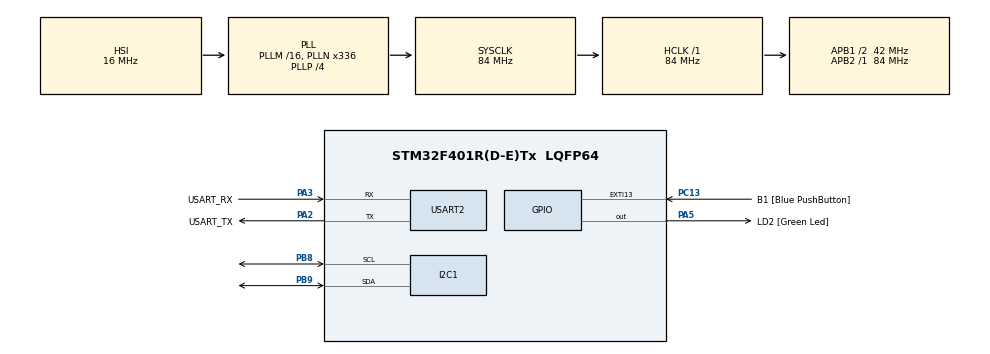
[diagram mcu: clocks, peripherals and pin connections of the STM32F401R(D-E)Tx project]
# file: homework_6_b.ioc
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Mcu.Family=STM32F4
Mcu.Name=STM32F401R(D-E)Tx
Mcu.Package=LQFP64
NVIC.PriorityGroup=NVIC_PRIORITYGROUP_0
NVIC.TIM2_IRQn=true\:0\:0\:false\:false\:true\:true\:true\:true
PA13.GPIO_Label=TMS
PA13.Mode=Serial_Wire
PA13.Signal=SYS_JTMS-SWDIO
PA14.GPIO_Label=TCK
PA14.Mode=Serial_Wire
PA14.Signal=SYS_JTCK-SWCLK
PA2.GPIO_Label=USART_TX
PA2.GPIO_Mode=GPIO_MODE_AF_PP
PA2.GPIO_PuPd=GPIO_NOPULL
PA2.GPIO_Speed=GPIO_SPEED_FREQ_LOW
PA2.Mode=Asynchronous
PA2.Signal=USART2_TX
PA3.GPIO_Label=USART_RX
PA3.GPIO_Mode=GPIO_MODE_AF_PP
PA3.GPIO_PuPd=GPIO_NOPULL
PA3.GPIO_Speed=GPIO_SPEED_FREQ_LOW
PA3.Mode=Asynchronous
PA3.Signal=USART2_RX
PA5.GPIO_Label=LD2 [Green Led]
PA5.GPIO_Mode=GPIO_MODE_OUTPUT_PP
PA5.GPIO_PuPd=GPIO_NOPULL
PA5.GPIO_Speed=GPIO_SPEED_FREQ_LOW
PA5.Signal=GPIO_Output
PB3.GPIO_Label=SWO
PB3.Signal=SYS_JTDO-SWO
PB8.Mode=I2C
PB8.Signal=I2C1_SCL
PB9.Mode=I2C
PB9.Signal=I2C1_SDA
PC13-ANTI_TAMP.GPIO_Label=B1 [Blue PushButton]
PC13-ANTI_TAMP.GPIO_ModeDefaultEXTI=GPIO_MODE_IT_FALLING
PC13-ANTI_TAMP.GPIO_PuPd=GPIO_NOPULL
PC13-ANTI_TAMP.Signal=GPXTI13
PC14-OSC32_IN.Mode=LSE-External-Oscillator
PC14-OSC32_IN.Signal=RCC_OSC32_IN
PC15-OSC32_OUT.Mode=LSE-External-Oscillator
PC15-OSC32_OUT.Signal=RCC_OSC32_OUT
PH0\ -\ OSC_IN.Mode=HSE-External-Clock-Source
PH0\ -\ OSC_IN.Signal=RCC_OSC_IN
PH1\ -\ OSC_OUT.Mode=HSE-External-Clock-Source
PH1\ -\ OSC_OUT.Signal=RCC_OSC_OUT
ProjectManager.HeapSize=0x200
ProjectManager.StackSize=0x400
ProjectManager.TargetToolchain=STM32CubeIDE
RCC.48MHZClocksFreq_Value=48000000
RCC.AHBFreq_Value=84000000
RCC.APB1CLKDivider=RCC_HCLK_DIV2
RCC.APB1Freq_Value=42000000
RCC.APB1TimFreq_Value=84000000
RCC.APB2Freq_Value=84000000
RCC.APB2TimFreq_Value=84000000
RCC.CortexFreq_Value=84000000
RCC.HCLKFreq_Value=84000000
RCC.HSE_VALUE=8000000
RCC.HSI_VALUE=16000000
RCC.PLLN=336
RCC.PLLP=RCC_PLLP_DIV4
RCC.PLLQ=7
RCC.SYSCLKFreq_VALUE=84000000
RCC.SYSCLKSource=RCC_SYSCLKSOURCE_PLLCLK
RCC.VCOOutputFreq_Value=336000000
TIM2.Period=84000000-1
USART2.VirtualMode=VM_ASYNC
VP_TIM2_VS_ClockSourceINT.Mode=Internal
board=NUCLEO-F401RE

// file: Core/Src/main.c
/* USER CODE BEGIN Header */
/**
  ******************************************************************************
  * @file           : main.c
  * @brief          : Main program body
  ******************************************************************************
  * @attention
  *
  * Copyright (c) 2022 STMicroelectronics.
  * All rights reserved.
  *
  * This software is licensed under terms that can be found in the LICENSE file
  * in the root directory of this software component.
  * If no LICENSE file comes with this software, it is provided AS-IS.
  *
  ******************************************************************************
  */
/* USER CODE END Header */
#include "main.h"

/* USER CODE BEGIN PTD */
typedef enum {false, true} bool;
/* USER CODE END PTD */

/* USER CODE BEGIN PD */
#define LM75_ADDRESS_AND_WRITE 0b10010000
#define LM75_ADDRESS_AND_READ 0b10010001
/* USER CODE END PD */

I2C_HandleTypeDef hi2c1;

TIM_HandleTypeDef htim2;

UART_HandleTypeDef huart2;

/* USER CODE BEGIN PV */
bool STARTUP_OVERFLOW = true;
uint8_t LM75_Temp_Reg_Address = 0x00;
/* USER CODE END PV */

void SystemClock_Config(void);
static void MX_GPIO_Init(void);
static void MX_USART2_UART_Init(void);
static void MX_I2C1_Init(void);
static void MX_TIM2_Init(void);

/* USER CODE BEGIN 0 */
void HAL_TIM_PeriodElapsedCallback(TIM_HandleTypeDef* calling_timer){
  if(calling_timer==&htim2){
    if(STARTUP_OVERFLOW==true){
      STARTUP_OVERFLOW=false;
    }
    else{
      acquire_temp();
    }
  }
}

/*void debug_print(int input_value){
  char output_string[64];
  snprintf(output_string, sizeof(output_string), "DEBUG VALUE = %d \r\n", input_value);
  HAL_UART_Transmit(&huart2, output_string, strlen(output_string), 100);
}*/

void acquire_temp(){
  int8_t temperature[2];
  float temperature_value;
  char temperature_string[64];
  //temperature[0]=0b01101111;        //POS TEMP
  //temperature[1]=0b00000000;
  //temperature[0]=0b11101111;        //NEG TEMP
  //temperature[1]=0b10000000;
  //debug_print(temperature[0]);
  //debug_print(temperature[1]);
  //debug_print(temperature[0]<<1);
  //debug_print((uint8_t)(temperature[1])>>7);
  HAL_I2C_Master_Receive(&hi2c1, LM75_ADDRESS_AND_READ, temperature, 2, 20);
  temperature_value=((temperature[0]<<1)+((uint8_t)(temperature[1])>>7))*0.5;     //casting to unsigned before shift RIGHT logical for correct result
  snprintf(temperature_string, sizeof(temperature_string), "Temp = %.3f °C\r\n", temperature_value);
  HAL_UART_Transmit(&huart2, temperature_string, strlen(temperature_string), 100);
}
/* USER CODE END 0 */

int main(void)
{

  /* MCU Configuration--------------------------------------------------------*/

  /* Reset of all peripherals, Initializes the Flash interface and the Systick. */
  HAL_Init();

  /* Configure the system clock */
  SystemClock_Config();

  /* Initialize all configured peripherals */
  MX_GPIO_Init();
  MX_USART2_UART_Init();
  MX_I2C1_Init();
  MX_TIM2_Init();
  /* USER CODE BEGIN 2 */
  HAL_I2C_Master_Transmit(&hi2c1, LM75_ADDRESS_AND_WRITE, &LM75_Temp_Reg_Address, 1, 10);
  HAL_TIM_Base_Start_IT(&htim2);
  /* USER CODE END 2 */

  /* Infinite loop */
  while (1)
  {

  }
}
void SystemClock_Config(void)
{
  RCC_OscInitTypeDef RCC_OscInitStruct = {0};
  RCC_ClkInitTypeDef RCC_ClkInitStruct = {0};

  /** Configure the main internal regulator output voltage
  */
  __HAL_RCC_PWR_CLK_ENABLE();
  __HAL_PWR_VOLTAGESCALING_CONFIG(PWR_REGULATOR_VOLTAGE_SCALE2);

  /** Initializes the RCC Oscillators according to the specified parameters
  * in the RCC_OscInitTypeDef structure.
  */
  RCC_OscInitStruct.OscillatorType = RCC_OSCILLATORTYPE_HSI;
  RCC_OscInitStruct.HSIState = RCC_HSI_ON;
  RCC_OscInitStruct.HSICalibrationValue = RCC_HSICALIBRATION_DEFAULT;
  RCC_OscInitStruct.PLL.PLLState = RCC_PLL_ON;
  RCC_OscInitStruct.PLL.PLLSource = RCC_PLLSOURCE_HSI;
  RCC_OscInitStruct.PLL.PLLM = 16;
  RCC_OscInitStruct.PLL.PLLN = 336;
  RCC_OscInitStruct.PLL.PLLP = RCC_PLLP_DIV4;
  RCC_OscInitStruct.PLL.PLLQ = 7;
  if (HAL_RCC_OscConfig(&RCC_OscInitStruct) != HAL_OK)
  {
    Error_Handler();
  }

  /** Initializes the CPU, AHB and APB buses clocks
  */
  RCC_ClkInitStruct.ClockType = RCC_CLOCKTYPE_HCLK|RCC_CLOCKTYPE_SYSCLK
                              |RCC_CLOCKTYPE_PCLK1|RCC_CLOCKTYPE_PCLK2;
  RCC_ClkInitStruct.SYSCLKSource = RCC_SYSCLKSOURCE_PLLCLK;
  RCC_ClkInitStruct.AHBCLKDivider = RCC_SYSCLK_DIV1;
  RCC_ClkInitStruct.APB1CLKDivider = RCC_HCLK_DIV2;
  RCC_ClkInitStruct.APB2CLKDivider = RCC_HCLK_DIV1;

  if (HAL_RCC_ClockConfig(&RCC_ClkInitStruct, FLASH_LATENCY_2) != HAL_OK)
  {
    Error_Handler();
  }
}

static void MX_I2C1_Init(void)
{

  hi2c1.Instance = I2C1;
  hi2c1.Init.ClockSpeed = 100000;
  hi2c1.Init.DutyCycle = I2C_DUTYCYCLE_2;
  hi2c1.Init.OwnAddress1 = 0;
  hi2c1.Init.AddressingMode = I2C_ADDRESSINGMODE_7BIT;
  hi2c1.Init.DualAddressMode = I2C_DUALADDRESS_DISABLE;
  hi2c1.Init.OwnAddress2 = 0;
  hi2c1.Init.GeneralCallMode = I2C_GENERALCALL_DISABLE;
  hi2c1.Init.NoStretchMode = I2C_NOSTRETCH_DISABLE;
  if (HAL_I2C_Init(&hi2c1) != HAL_OK)
  {
    Error_Handler();
  }

}

static void MX_TIM2_Init(void)
{

  TIM_ClockConfigTypeDef sClockSourceConfig = {0};
  TIM_MasterConfigTypeDef sMasterConfig = {0};

  htim2.Instance = TIM2;
  htim2.Init.Prescaler = 0;
  htim2.Init.CounterMode = TIM_COUNTERMODE_UP;
  htim2.Init.Period = 84000000-1;
  htim2.Init.ClockDivision = TIM_CLOCKDIVISION_DIV1;
  htim2.Init.AutoReloadPreload = TIM_AUTORELOAD_PRELOAD_DISABLE;
  if (HAL_TIM_Base_Init(&htim2) != HAL_OK)
  {
    Error_Handler();
  }
  sClockSourceConfig.ClockSource = TIM_CLOCKSOURCE_INTERNAL;
  if (HAL_TIM_ConfigClockSource(&htim2, &sClockSourceConfig) != HAL_OK)
  {
    Error_Handler();
  }
  sMasterConfig.MasterOutputTrigger = TIM_TRGO_RESET;
  sMasterConfig.MasterSlaveMode = TIM_MASTERSLAVEMODE_DISABLE;
  if (HAL_TIMEx_MasterConfigSynchronization(&htim2, &sMasterConfig) != HAL_OK)
  {
    Error_Handler();
  }

}

static void MX_USART2_UART_Init(void)
{

  huart2.Instance = USART2;
  huart2.Init.BaudRate = 115200;
  huart2.Init.WordLength = UART_WORDLENGTH_8B;
  huart2.Init.StopBits = UART_STOPBITS_1;
  huart2.Init.Parity = UART_PARITY_NONE;
  huart2.Init.Mode = UART_MODE_TX_RX;
  huart2.Init.HwFlowCtl = UART_HWCONTROL_NONE;
  huart2.Init.OverSampling = UART_OVERSAMPLING_16;
  if (HAL_UART_Init(&huart2) != HAL_OK)
  {
    Error_Handler();
  }

}

static void MX_GPIO_Init(void)
{
  GPIO_InitTypeDef GPIO_InitStruct = {0};

  /* GPIO Ports Clock Enable */
  __HAL_RCC_GPIOC_CLK_ENABLE();
  __HAL_RCC_GPIOH_CLK_ENABLE();
  __HAL_RCC_GPIOA_CLK_ENABLE();
  __HAL_RCC_GPIOB_CLK_ENABLE();

  /*Configure GPIO pin Output Level */
  HAL_GPIO_WritePin(LD2_GPIO_Port, LD2_Pin, GPIO_PIN_RESET);

  /*Configure GPIO pin : B1_Pin */
  GPIO_InitStruct.Pin = B1_Pin;
  GPIO_InitStruct.Mode = GPIO_MODE_IT_FALLING;
  GPIO_InitStruct.Pull = GPIO_NOPULL;
  HAL_GPIO_Init(B1_GPIO_Port, &GPIO_InitStruct);

  /*Configure GPIO pin : LD2_Pin */
  GPIO_InitStruct.Pin = LD2_Pin;
  GPIO_InitStruct.Mode = GPIO_MODE_OUTPUT_PP;
  GPIO_InitStruct.Pull = GPIO_NOPULL;
  GPIO_InitStruct.Speed = GPIO_SPEED_FREQ_LOW;
  HAL_GPIO_Init(LD2_GPIO_Port, &GPIO_InitStruct);

}

void Error_Handler(void)
{
  __disable_irq();
  while (1)
  {
  }
}
